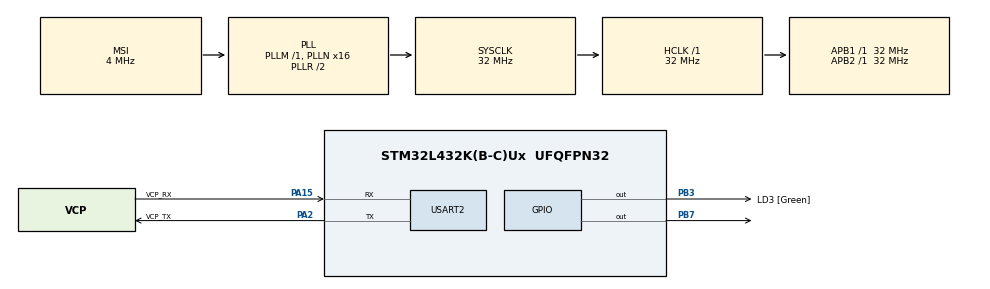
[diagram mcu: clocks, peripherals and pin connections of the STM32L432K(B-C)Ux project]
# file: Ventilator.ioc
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Mcu.Family=STM32L4
Mcu.Name=STM32L432K(B-C)Ux
Mcu.Package=UFQFPN32
NVIC.PriorityGroup=NVIC_PRIORITYGROUP_4
PA0.GPIO_Label=MCO [High speed clock in]
PA0.Mode=HSE-External-Clock-Source-for-LittleOrca
PA0.Signal=RCC_CK_IN
PA13\ (JTMS-SWDIO).GPIO_Label=SWDIO
PA13\ (JTMS-SWDIO).Mode=Serial_Wire
PA13\ (JTMS-SWDIO).Signal=SYS_JTMS-SWDIO
PA14\ (JTCK-SWCLK).GPIO_Label=SWCLK
PA14\ (JTCK-SWCLK).Mode=Serial_Wire
PA14\ (JTCK-SWCLK).Signal=SYS_JTCK-SWCLK
PA15\ (JTDI).GPIO_Label=VCP_RX
PA15\ (JTDI).Mode=Asynchronous
PA15\ (JTDI).Signal=USART2_RX
PA2.GPIO_Label=VCP_TX
PA2.Mode=Asynchronous
PA2.Signal=USART2_TX
PB3\ (JTDO-TRACESWO).GPIO_Label=LD3 [Green]
PB3\ (JTDO-TRACESWO).Signal=GPIO_Output
PB7.Signal=GPIO_Output
PC14-OSC32_IN\ (PC14).Mode=LSE-External-Oscillator
PC14-OSC32_IN\ (PC14).Signal=RCC_OSC32_IN
PC15-OSC32_OUT\ (PC15).Mode=LSE-External-Oscillator
PC15-OSC32_OUT\ (PC15).Signal=RCC_OSC32_OUT
ProjectManager.HeapSize=0x200
ProjectManager.StackSize=0x400
ProjectManager.TargetToolchain=STM32CubeIDE
RCC.AHBFreq_Value=32000000
RCC.APB1Freq_Value=32000000
RCC.APB1TimFreq_Value=32000000
RCC.APB2Freq_Value=32000000
RCC.APB2TimFreq_Value=32000000
RCC.CortexFreq_Value=32000000
RCC.HCLKFreq_Value=32000000
RCC.HSE_VALUE=8000000
RCC.HSI16_VALUE=16000000
RCC.HSI48_VALUE=48000000
RCC.HSI_VALUE=16000000
RCC.MSI_VALUE=4000000
RCC.PLLMUL=RCC_PLLMUL_4
RCC.PLLN=16
RCC.SYSCLKFreq_VALUE=32000000
RCC.SYSCLKSource=RCC_SYSCLKSOURCE_PLLCLK
RCC.VCOOutputFreq_Value=64000000
USART2.VirtualMode-Asynchronous=VM_ASYNC
board=NUCLEO-L432KC

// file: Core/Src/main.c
/* USER CODE BEGIN Header */
/**
  ******************************************************************************
  * @file           : main.c
  * @brief          : Main program body
  ******************************************************************************
  * @attention
  *
  * Copyright (c) 2024 STMicroelectronics.
  * All rights reserved.
  *
  * This software is licensed under terms that can be found in the LICENSE file
  * in the root directory of this software component.
  * If no LICENSE file comes with this software, it is provided AS-IS.
  *
  ******************************************************************************
  */
/* USER CODE END Header */
#include "main.h"

/* USER CODE BEGIN Includes */
#include<string.h>
/* USER CODE END Includes */

UART_HandleTypeDef huart2;

void SystemClock_Config(void);
static void MX_GPIO_Init(void);
static void MX_USART2_UART_Init(void);

int main(void)
{

  /* MCU Configuration--------------------------------------------------------*/

  /* Reset of all peripherals, Initializes the Flash interface and the Systick. */
  HAL_Init();

  /* Configure the system clock */
  SystemClock_Config();

  /* Initialize all configured peripherals */
  MX_GPIO_Init();
  MX_USART2_UART_Init();
  /* Infinite loop */
  /* USER CODE BEGIN WHILE */
  while (1)
  {
	  char command[20] = {};						//het ingevoerde commando.
	  uint16_t maxCommandSize = sizeof(command)-1;	//maximum lengte van het commando zodat de null terminator er nog achter past.
	  uint16_t commandSize = 0;						//houd bij hoe lang het commando op dit moment is.

	  char inputByte[1];	//buffer voor de input van het toetsenbord

	  //loop tot de gebruiker op enter drukt.
	  do
	  {
		  //wacht totdat gebruiker letter indrukt, en print naar het scherm.
		  HAL_UART_Receive(&huart2, (uint8_t*)inputByte, 1, HAL_MAX_DELAY);
		  HAL_UART_Transmit(&huart2, (uint8_t*)inputByte, 1, HAL_MAX_DELAY);

		  //zet de letter op de juiste plek in de array.
		  command[commandSize] = *inputByte;

		  //verhoog de lengte van de commando,
		  //behalve als het anders te lang wordt.
		  if(commandSize < maxCommandSize)
			  commandSize += 1;
	  }
	  while(*inputByte != 13);

	  //print een enter
	  HAL_UART_Transmit(&huart2, (uint8_t*)"\n\r", 2, HAL_MAX_DELAY);

	  //handel de commando's af
	  if(strcmp(command, "aan\r") == 0)
	  {
		  HAL_GPIO_WritePin(GPIOB, GPIO_PIN_7, 1);

		  char message[] = "de ventilator is gaat aan... \n\r";
		  HAL_UART_Transmit(&huart2, (uint8_t*)message, sizeof(message), HAL_MAX_DELAY);
	  }
	  else if(strcmp(command, "uit\r") == 0)
	  {
		  HAL_GPIO_WritePin(GPIOB, GPIO_PIN_7, 0);

		  char message[] = "de ventilator is gaat uit... \n\r";
		  HAL_UART_Transmit(&huart2, (uint8_t*)message, sizeof(message), HAL_MAX_DELAY);

	  }
	  else
	  {
		  char message[] = "onbekend commando... \n\r";
		  HAL_UART_Transmit(&huart2, (uint8_t*)message, sizeof(message), HAL_MAX_DELAY);
	  }

    /* USER CODE END WHILE */

  }
}

void SystemClock_Config(void)
{
  RCC_OscInitTypeDef RCC_OscInitStruct = {0};
  RCC_ClkInitTypeDef RCC_ClkInitStruct = {0};

  /** Configure the main internal regulator output voltage
  */
  if (HAL_PWREx_ControlVoltageScaling(PWR_REGULATOR_VOLTAGE_SCALE1) != HAL_OK)
  {
    Error_Handler();
  }

  /** Configure LSE Drive Capability
  */
  HAL_PWR_EnableBkUpAccess();
  __HAL_RCC_LSEDRIVE_CONFIG(RCC_LSEDRIVE_LOW);

  /** Initializes the RCC Oscillators according to the specified parameters
  * in the RCC_OscInitTypeDef structure.
  */
  RCC_OscInitStruct.OscillatorType = RCC_OSCILLATORTYPE_LSE|RCC_OSCILLATORTYPE_MSI;
  RCC_OscInitStruct.LSEState = RCC_LSE_ON;
  RCC_OscInitStruct.MSIState = RCC_MSI_ON;
  RCC_OscInitStruct.MSICalibrationValue = 0;
  RCC_OscInitStruct.MSIClockRange = RCC_MSIRANGE_6;
  RCC_OscInitStruct.PLL.PLLState = RCC_PLL_ON;
  RCC_OscInitStruct.PLL.PLLSource = RCC_PLLSOURCE_MSI;
  RCC_OscInitStruct.PLL.PLLM = 1;
  RCC_OscInitStruct.PLL.PLLN = 16;
  RCC_OscInitStruct.PLL.PLLP = RCC_PLLP_DIV7;
  RCC_OscInitStruct.PLL.PLLQ = RCC_PLLQ_DIV2;
  RCC_OscInitStruct.PLL.PLLR = RCC_PLLR_DIV2;
  if (HAL_RCC_OscConfig(&RCC_OscInitStruct) != HAL_OK)
  {
    Error_Handler();
  }

  /** Initializes the CPU, AHB and APB buses clocks
  */
  RCC_ClkInitStruct.ClockType = RCC_CLOCKTYPE_HCLK|RCC_CLOCKTYPE_SYSCLK
                              |RCC_CLOCKTYPE_PCLK1|RCC_CLOCKTYPE_PCLK2;
  RCC_ClkInitStruct.SYSCLKSource = RCC_SYSCLKSOURCE_PLLCLK;
  RCC_ClkInitStruct.AHBCLKDivider = RCC_SYSCLK_DIV1;
  RCC_ClkInitStruct.APB1CLKDivider = RCC_HCLK_DIV1;
  RCC_ClkInitStruct.APB2CLKDivider = RCC_HCLK_DIV1;

  if (HAL_RCC_ClockConfig(&RCC_ClkInitStruct, FLASH_LATENCY_1) != HAL_OK)
  {
    Error_Handler();
  }

  /** Enable MSI Auto calibration
  */
  HAL_RCCEx_EnableMSIPLLMode();
}

static void MX_USART2_UART_Init(void)
{

  huart2.Instance = USART2;
  huart2.Init.BaudRate = 115200;
  huart2.Init.WordLength = UART_WORDLENGTH_8B;
  huart2.Init.StopBits = UART_STOPBITS_1;
  huart2.Init.Parity = UART_PARITY_NONE;
  huart2.Init.Mode = UART_MODE_TX_RX;
  huart2.Init.HwFlowCtl = UART_HWCONTROL_NONE;
  huart2.Init.OverSampling = UART_OVERSAMPLING_16;
  huart2.Init.OneBitSampling = UART_ONE_BIT_SAMPLE_DISABLE;
  huart2.AdvancedInit.AdvFeatureInit = UART_ADVFEATURE_NO_INIT;
  if (HAL_UART_Init(&huart2) != HAL_OK)
  {
    Error_Handler();
  }

}

static void MX_GPIO_Init(void)
{
  GPIO_InitTypeDef GPIO_InitStruct = {0};

  /* GPIO Ports Clock Enable */
  __HAL_RCC_GPIOC_CLK_ENABLE();
  __HAL_RCC_GPIOA_CLK_ENABLE();
  __HAL_RCC_GPIOB_CLK_ENABLE();

  /*Configure GPIO pin Output Level */
  HAL_GPIO_WritePin(GPIOB, LD3_Pin|GPIO_PIN_7, GPIO_PIN_RESET);

  /*Configure GPIO pins : LD3_Pin PB7 */
  GPIO_InitStruct.Pin = LD3_Pin|GPIO_PIN_7;
  GPIO_InitStruct.Mode = GPIO_MODE_OUTPUT_PP;
  GPIO_InitStruct.Pull = GPIO_NOPULL;
  GPIO_InitStruct.Speed = GPIO_SPEED_FREQ_LOW;
  HAL_GPIO_Init(GPIOB, &GPIO_InitStruct);

}

void Error_Handler(void)
{
  __disable_irq();
  while (1)
  {
  }
}
